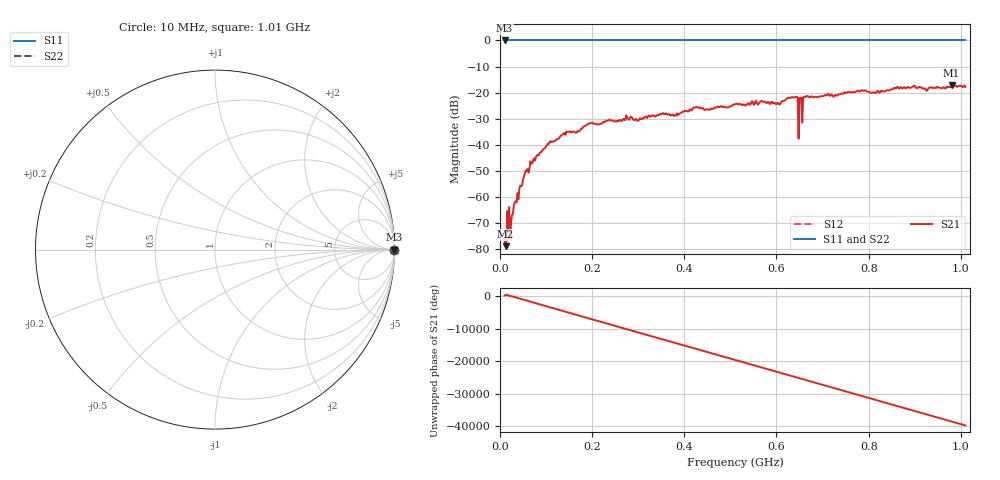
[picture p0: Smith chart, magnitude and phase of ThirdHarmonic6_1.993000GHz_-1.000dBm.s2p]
! 8/16/2025 11:57:19 PM
! C:\ANRITSUVNA\TEMP\TEMP.S2P
! CHANNEL.1
! TR.MEASUREMENT
! RAW.DATA
! RF.CORRECTION.OFF
! AVERAGING.OFF
! IF.BANDWIDTH: 5KHZ
! SWEEPTYPE:  FREQ.SWEEP(Linear)
! Reference Plane Port Info
! PORT:  PORT1  PORT2
! DISTANCE:  0  m  0  m
! TIME:  0  s  0  s
! PHASE.OFFSET:  0  deg.  0  deg.
! LOSS:  0  dB  0  dB
! REF.LOSS:  0  dB  0  dB
! REF.FREQ:  0  Hz  0  Hz
! Power Info
! POWER:  -20  dBm  -20  dBm
! EFF.POWER:  -20  dBm  -20  dBm
! SOURCE.ATTEN:  0  dB  0  dB
! TEST.ATTEN:  0  dB  0  dB
# GHZ S RI R 50.0
! FREQ.GHZ  S11RE  S11IM  S21RE  S21IM  S12RE  S12IM  S22RE  S22IM
!; PortSelection: Port_12
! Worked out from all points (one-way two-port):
!   501 points, 10 MHz to 1.01 GHz, reference 50 ohm
!   highest |S21| = -17.28 dB at 980 MHz (marker M1); lowest = -79.0 dB at 12 MHz (marker M2)
!   lowest |S11| = 0.0 dB at 10 MHz (marker M3)
!   |S11| at or under -10 dB: nowhere
!   |S22| runs from 0.0 to 0.0 dB; largest |S21 - S12| = 1.1
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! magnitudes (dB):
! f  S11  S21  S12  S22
! 10 MHz  0.0  -76.3  0.0  0.0
! 12 MHz  0.0  -79.0  0.0  0.0
! 26 MHz  0.0  -67.1  0.0  0.0
! 34 MHz  0.0  -61.8  0.0  0.0
! 54 MHz  0.0  -51.1  0.0  0.0
! 70 MHz  0.0  -47.2  0.0  0.0
! 108 MHz  0.0  -38.9  0.0  0.0
! 178 MHz  0.0  -33.8  0.0  0.0
! 344 MHz  0.0  -28.7  0.0  0.0
! 510 MHz  0.0  -24.5  0.0  0.0
! 604 MHz  0.0  -24.0  0.0  0.0
! 642 MHz  0.0  -21.6  0.0  0.0
! 644 MHz  0.0  -21.7  0.0  0.0
! 650 MHz  0.0  -22.1  0.0  0.0
! 652 MHz  0.0  -22.2  0.0  0.0
! 654 MHz  0.0  -21.9  0.0  0.0
! 660 MHz  0.0  -21.9  0.0  0.0
! 662 MHz  0.0  -21.5  0.0  0.0
! 678 MHz  0.0  -21.7  0.0  0.0
! 844 MHz  0.0  -19.2  0.0  0.0
! 980 MHz  0.0  -17.3  0.0  0.0
! 1.01 GHz  0.0  -17.8  0.0  0.0
